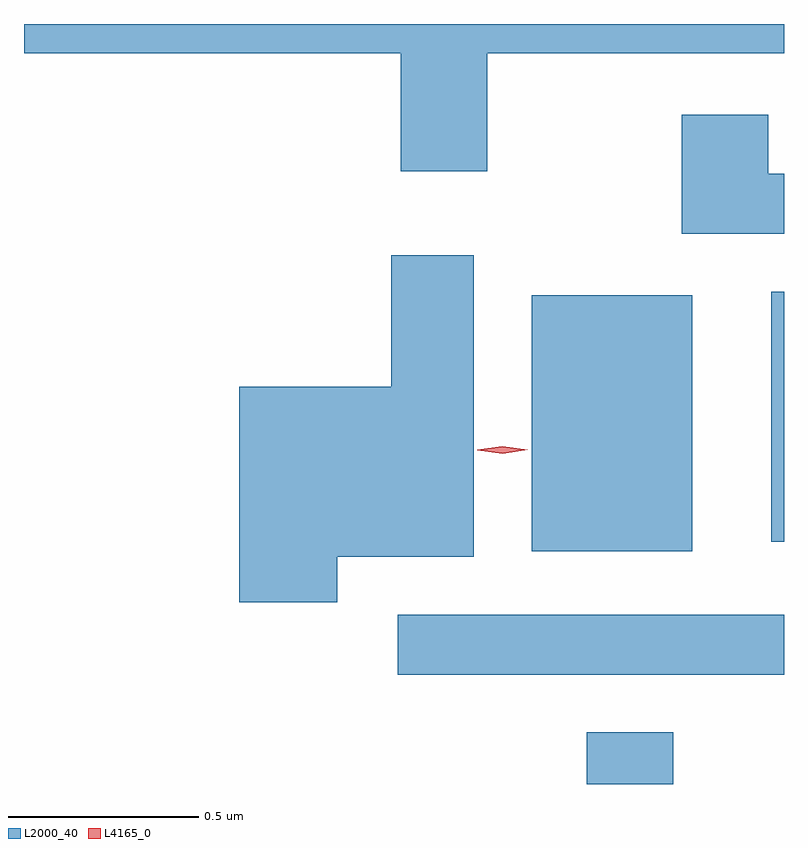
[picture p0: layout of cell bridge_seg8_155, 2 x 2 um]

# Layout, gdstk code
import gdstk
lib = gdstk.Library(unit=1e-6, precision=1e-09)
def R(c, l, rs):  # rectangles x0, y0, x1, y1
    for r in rs: c.add(gdstk.rectangle(r[:2], r[2:], *l))
def P(c, l, *ps):  # polygons
    for p in ps: c.add(gdstk.Polygon(p, *l))
L2000_40 = (2000, 40)
L4165_0 = (4165, 0)

bridge_seg8_155 = lib.new_cell('bridge_seg8_155')
R(bridge_seg8_155, L2000_40, [(1689.891,1841.153,1690.119,1841.289), (1689.393,1841.441,1690.41,1841.599), (1689.746,1841.766,1690.169,1842.439), (1690.376,1841.791,1690.41,1842.449)])
P(bridge_seg8_155, L2000_40, [(1689.629,1843.076),(1690.41,1843.076),(1690.41,1843.153),(1688.41,1843.153),(1688.41,1843.076),(1689.401,1843.076),(1689.401,1842.766),(1689.629,1842.766)],
  [(1690.41,1842.759),(1690.369,1842.759),(1690.369,1842.914),(1690.141,1842.914),(1690.141,1842.601),(1690.41,1842.601)],
  [(1689.234,1841.751),(1689.594,1841.751),(1689.594,1842.544),(1689.376,1842.544),(1689.376,1842.199),(1688.976,1842.199),(1688.976,1841.631),(1689.234,1841.631)])
P(bridge_seg8_155, L4165_0, [(1689.67,1842.022),(1689.603,1842.031),(1689.603,1842.032),(1689.603,1842.032),(1689.669,1842.042),(1689.736,1842.033),(1689.736,1842.033),(1689.736,1842.032)])

lib.write_gds('bridge_seg8_155.gds')
